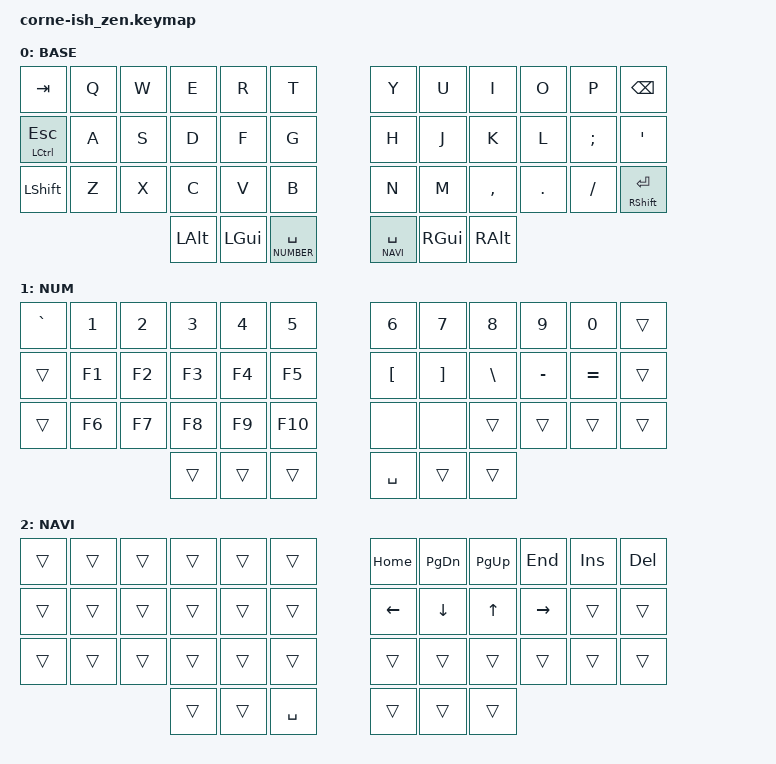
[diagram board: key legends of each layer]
/*
*
* Copyright (c) 2021 Darryl deHaan
* SPDX-License-Identifier: MIT
*
*/

#include <behaviors.dtsi>
#include <dt-bindings/zmk/keys.h>
#include <dt-bindings/zmk/bt.h>

/* Layers */
#define BASE   0
#define NUMBER 1
#define NAVI   2

/* Keys Abbeviations */
#define CTESC   &mt LCTRL ESC
#define SHENT   &mt RSHFT ENTER
#define CAPOS   &mt RCTRL APOS  // Not used
#define XXX     &none
#define ___     &trans
#define NUMBSPC &lt NUMBER SPACE
#define NAVISPC &lt NAVI SPACE


/ {
    combos {
        #include "combos.dtsi"
    };
    keymap {
        compatible = "zmk,keymap";

        default_layer {
            label = "BASE";
            bindings = <
// ╭─────────╮╭─────────╮╭─────────╮╭─────────╮╭─────────╮╭─────────╮          ╭─────────╮╭─────────╮╭─────────╮╭─────────╮╭─────────╮╭─────────╮
     &kp TAB     &kp Q      &kp W      &kp E      &kp R      &kp T                &kp Y      &kp U      &kp I      &kp O      &kp P    &kp BKSP
// ╰─────────╯╰─────────╯╰─────────╯╰─────────╯╰─────────╯╰─────────╯          ╰─────────╯╰─────────╯╰─────────╯╰─────────╯╰─────────╯╰─────────╯
// ╭─────────╮╭─────────╮╭─────────╮╭─────────╮╭─────────╮╭─────────╮          ╭─────────╮╭─────────╮╭─────────╮╭─────────╮╭─────────╮╭─────────╮
      CTESC      &kp A      &kp S      &kp D      &kp F      &kp G                &kp H      &kp J      &kp K      &kp L    &kp SEMI   &kp APOS
// ╰─────────╯╰─────────╯╰─────────╯╰─────────╯╰─────────╯╰─────────╯          ╰─────────╯╰─────────╯╰─────────╯╰─────────╯╰─────────╯╰─────────╯
// ╭─────────╮╭─────────╮╭─────────╮╭─────────╮╭─────────╮╭─────────╮          ╭─────────╮╭─────────╮╭─────────╮╭─────────╮╭─────────╮╭─────────╮
    &kp LSHFT    &kp Z      &kp X      &kp C      &kp V      &kp B                &kp N      &kp M    &kp COMMA  &kp DOT    &kp FSLH     SHENT
// ╰─────────╯╰─────────╯╰─────────╯╰─────────╯╰─────────╯╰─────────╯          ╰─────────╯╰─────────╯╰─────────╯╰─────────╯╰─────────╯╰─────────╯
//                                  ╭─────────╮╭─────────╮╭─────────────╮  ╭─────────────╮╭─────────╮╭─────────╮
                                     &kp LALT   &kp LGUI      NUMBSPC          NAVISPC     &kp RGUI   &kp RALT
//                                  ╰─────────╯╰─────────╯╰─────────────╯  ╰─────────────╯╰─────────╯╰─────────╯
                       >;
        };
        number_layer {
            label = "NUM";
            bindings = <
// ╭─────────╮╭─────────╮╭─────────╮╭─────────╮╭─────────╮╭─────────╮          ╭─────────╮╭─────────╮╭─────────╮╭─────────╮╭─────────╮╭─────────╮
    &kp GRAVE   &kp N1     &kp N2     &kp N3     &kp N4     &kp N5               &kp N6     &kp N7     &kp N8     &kp N9     &kp N0       ___  
// ╰─────────╯╰─────────╯╰─────────╯╰─────────╯╰─────────╯╰─────────╯          ╰─────────╯╰─────────╯╰─────────╯╰─────────╯╰─────────╯╰─────────╯
// ╭─────────╮╭─────────╮╭─────────╮╭─────────╮╭─────────╮╭─────────╮          ╭─────────╮╭─────────╮╭─────────╮╭─────────╮╭─────────╮╭─────────╮
       ___      &kp F1     &kp F2     &kp F3     &kp F4     &kp F5              &kp LBKT   &kp RBKT   &kp BSLH   &kp MINUS  &kp EQUAL     ___
// ╰─────────╯╰─────────╯╰─────────╯╰─────────╯╰─────────╯╰─────────╯          ╰─────────╯╰─────────╯╰─────────╯╰─────────╯╰─────────╯╰─────────╯
// ╭─────────╮╭─────────╮╭─────────╮╭─────────╮╭─────────╮╭─────────╮          ╭─────────╮╭─────────╮╭─────────╮╭─────────╮╭─────────╮╭─────────╮
       ___      &kp F6     &kp F7     &kp F8     &kp F9     &kp F10                XXX        XXX        ___        ___        ___        ___
// ╰─────────╯╰─────────╯╰─────────╯╰─────────╯╰─────────╯╰─────────╯          ╰─────────╯╰─────────╯╰─────────╯╰─────────╯╰─────────╯╰─────────╯
//                                  ╭─────────╮╭─────────╮╭─────────────╮  ╭─────────────╮╭─────────╮╭─────────╮
                                        ___        ___          ___           &kp SPACE        ___        ___
//                                  ╰─────────╯╰─────────╯╰─────────────╯  ╰─────────────╯╰─────────╯╰─────────╯
                       >;
        };
        func_layer {
            label = "NAVI";
            bindings = <
// ╭─────────╮╭─────────╮╭─────────╮╭─────────╮╭─────────╮╭─────────╮          ╭─────────╮╭─────────╮╭─────────╮╭─────────╮╭─────────╮╭─────────╮
       ___        ___        ___        ___        ___        ___               &kp HOME   &kp PG_DN  &kp PG_UP   &kp END    &kp INS    &kp DEL
// ╰─────────╯╰─────────╯╰─────────╯╰─────────╯╰─────────╯╰─────────╯          ╰─────────╯╰─────────╯╰─────────╯╰─────────╯╰─────────╯╰─────────╯
// ╭─────────╮╭─────────╮╭─────────╮╭─────────╮╭─────────╮╭─────────╮          ╭─────────╮╭─────────╮╭─────────╮╭─────────╮╭─────────╮╭─────────╮
       ___        ___        ___        ___        ___        ___               &kp LEFT   &kp DOWN    &kp UP    &kp RIGHT     ___        ___
// ╰─────────╯╰─────────╯╰─────────╯╰─────────╯╰─────────╯╰─────────╯          ╰─────────╯╰─────────╯╰─────────╯╰─────────╯╰─────────╯╰─────────╯
// ╭─────────╮╭─────────╮╭─────────╮╭─────────╮╭─────────╮╭─────────╮          ╭─────────╮╭─────────╮╭─────────╮╭─────────╮╭─────────╮╭─────────╮
       ___        ___        ___        ___        ___        ___                  ___        ___        ___        ___        ___        ___
// ╰─────────╯╰─────────╯╰─────────╯╰─────────╯╰─────────╯╰─────────╯          ╰─────────╯╰─────────╯╰─────────╯╰─────────╯╰─────────╯╰─────────╯
//                                  ╭─────────╮╭─────────╮╭─────────────╮  ╭─────────────╮╭─────────╮╭─────────╮
                                        ___        ___       &kp SPACE           ___          ___        ___
//                                  ╰─────────╯╰─────────╯╰─────────────╯  ╰─────────────╯╰─────────╯╰─────────╯
                       >;
        };
    };
};


// vim:filetype=dts
